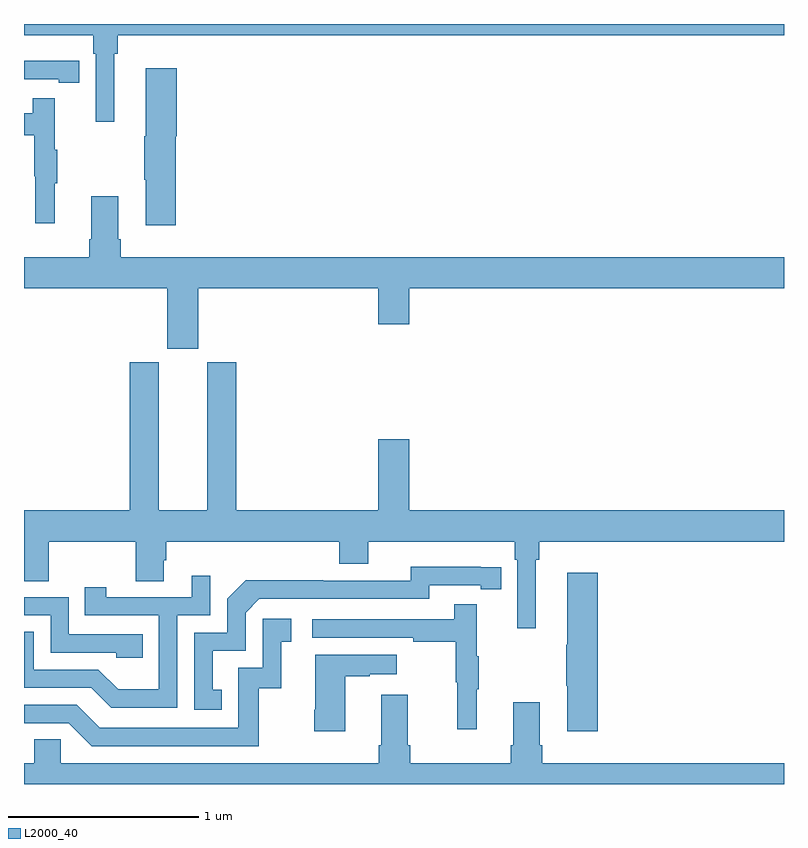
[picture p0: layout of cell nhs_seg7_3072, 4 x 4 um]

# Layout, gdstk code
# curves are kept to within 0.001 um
import gdstk
lib = gdstk.Library(unit=1e-6, precision=1e-09)
def P(c, l, *ps):  # polygons
    for p in ps: c.add(gdstk.Polygon(p, *l))
L2000_40 = (2000, 40)

nhs_seg7_3072 = lib.new_cell('nhs_seg7_3072')
P(nhs_seg7_3072, L2000_40, [(307.474,1009.844),(307.493,1009.844),(307.493,1009.94),(311,1009.94),(311,1010),(307,1010),(307,1009.94),(307.364,1009.94),(307.364,1009.844),(307.377,1009.844),(307.377,1009.485),(307.474,1009.485)],
  [(307.292,1009.806),(307.184,1009.806),(307.184,1009.807),(307,1009.807),(307,1009.71),(307.184,1009.71),(307.184,1009.69),(307.292,1009.69)],
  [(307.799,1009.41),(307.804,1009.41),(307.804,1009.768),(307.64,1009.768),(307.64,1009.41),(307.633,1009.41),(307.633,1009.18),(307.64,1009.18),(307.64,1008.942),(307.799,1008.942)],
  [(307.163,1009.163),(307.174,1009.163),(307.174,1009.337),(307.163,1009.337),(307.163,1009.609),(307.045,1009.609),(307.045,1009.53),(307,1009.53),(307,1009.414),(307.053,1009.414),(307.053,1009.2),(307.06,1009.2),(307.06,1008.951),(307.163,1008.951)],
  [(307.918,1008.608),(308.864,1008.608),(308.864,1008.42),(309.028,1008.42),(309.028,1008.608),(311,1008.608),(311,1008.772),(307.508,1008.772),(307.508,1008.868),(307.495,1008.868),(307.495,1009.093),(307.355,1009.093),(307.355,1008.868),(307.343,1008.868),(307.343,1008.772),(307,1008.772),(307,1008.608),(307.754,1008.608),(307.754,1008.291),(307.918,1008.291)],
  [(309.694,1007.18),(309.713,1007.18),(309.713,1007.276),(311,1007.276),(311,1007.44),(309.028,1007.44),(309.028,1007.815),(308.864,1007.815),(308.864,1007.44),(308.117,1007.44),(308.117,1008.219),(307.964,1008.219),(307.964,1007.44),(307.708,1007.44),(307.708,1008.219),(307.556,1008.219),(307.556,1007.44),(307,1007.44),(307,1007.068),(307.131,1007.068),(307.131,1007.276),(307.588,1007.276),(307.588,1007.068),(307.735,1007.068),(307.735,1007.178),(307.748,1007.178),(307.748,1007.276),(308.66,1007.276),(308.66,1007.159),(308.812,1007.159),(308.812,1007.276),(309.584,1007.276),(309.584,1007.18),(309.597,1007.18),(309.597,1006.821),(309.694,1006.821)],
  [(308.042,1006.497),(307.993,1006.497),(307.993,1006.701),(308.166,1006.701),(308.166,1006.902),(308.238,1006.974),(309.132,1006.974),(309.132,1007.046),(309.404,1007.046),(309.404,1007.026),(309.512,1007.026),(309.512,1007.142),(309.036,1007.143),(309.036,1007.07),(308.576,1007.07),(308.576,1007.072),(308.168,1007.072),(308.07,1006.974),(308.07,1006.797),(307.896,1006.797),(307.896,1006.392),(308.042,1006.392)],
  [(310.019,1007.113),(309.86,1007.113),(309.86,1006.733),(309.853,1006.733),(309.853,1006.516),(309.86,1006.516),(309.86,1006.278),(310.019,1006.278)],
  [(307.806,1006.887),(307.98,1006.887),(307.98,1007.095),(307.883,1007.095),(307.883,1006.983),(307.432,1006.983),(307.432,1007.035),(307.321,1007.035),(307.321,1006.887),(307.71,1006.887),(307.71,1006.498),(307.496,1006.498),(307.392,1006.602),(307.05,1006.602),(307.05,1006.801),(307,1006.801),(307,1006.506),(307.355,1006.506),(307.46,1006.401),(307.806,1006.401)],
  [(307.625,1006.788),(307.236,1006.788),(307.236,1006.983),(307,1006.983),(307,1006.887),(307.14,1006.887),(307.14,1006.692),(307.485,1006.692),(307.485,1006.665),(307.625,1006.665)],
  [(309.383,1006.499),(309.394,1006.499),(309.394,1006.673),(309.383,1006.673),(309.383,1006.945),(309.265,1006.945),(309.265,1006.866),(308.517,1006.866),(308.517,1006.77),(309.049,1006.77),(309.049,1006.75),(309.273,1006.75),(309.273,1006.536),(309.28,1006.536),(309.28,1006.287),(309.383,1006.287)],
  [(308.236,1006.503),(308.354,1006.503),(308.354,1006.749),(308.407,1006.749),(308.407,1006.87),(308.256,1006.87),(308.256,1006.611),(308.127,1006.611),(308.127,1006.296),(307.398,1006.296),(307.278,1006.416),(307,1006.416),(307,1006.32),(307.236,1006.32),(307.356,1006.2),(308.236,1006.2)],
  [(308.692,1006.567),(308.819,1006.567),(308.819,1006.577),(308.962,1006.577),(308.962,1006.681),(308.534,1006.681),(308.534,1006.39),(308.527,1006.39),(308.527,1006.278),(308.692,1006.278)],
  [(307.055,1006.235),(307.055,1006.108),(307,1006.108),(307,1006),(311,1006),(311,1006.108),(309.728,1006.108),(309.728,1006.204),(309.715,1006.204),(309.715,1006.429),(309.575,1006.429),(309.575,1006.204),(309.563,1006.204),(309.563,1006.108),(309.032,1006.108),(309.032,1006.204),(309.019,1006.204),(309.019,1006.471),(308.879,1006.471),(308.879,1006.204),(308.867,1006.204),(308.867,1006.108),(307.194,1006.108),(307.194,1006.235)])

lib.write_gds('nhs_seg7_3072.gds')
